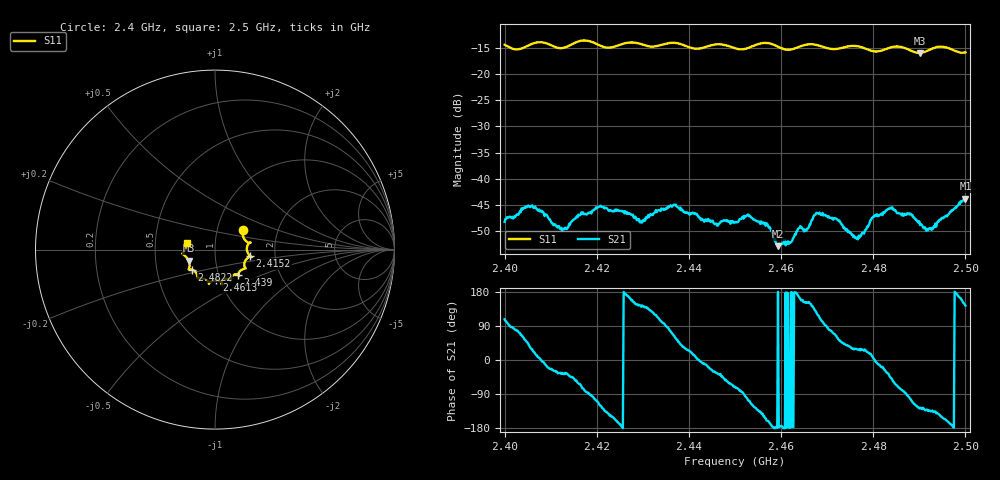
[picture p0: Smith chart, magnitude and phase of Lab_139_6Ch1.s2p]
# Hz S RI R 50
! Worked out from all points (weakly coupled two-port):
!   601 points, 2.4 GHz to 2.5 GHz, reference 50 ohm
!   highest |S21| = -43.85 dB at 2.5 GHz (marker M1); lowest = -52.9 dB at 2.4593 GHz (marker M2)
!   lowest |S11| = -15.9 dB at 2.4902 GHz (marker M3), VSWR 1.38, Z = 36.9 - j4.62 ohm
!   |S11| at or under -10 dB: start of sweep to end of sweep
!   S12 and S22 are empty: the file has one direction only
!   S11 on the Smith chart (normalised r, x): 2.4 GHz: 1.33, +0.31; 2.4152 GHz: 1.48, -0.11; 2.439 GHz: 1.24, -0.36; 2.4613 GHz: 0.96, -0.34; 2.4822 GHz: 0.76, -0.17; 2.5 GHz: 0.73, +0.05
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2.4e9  0.1552 0.1114  -0.00115 0.00369  0 0  0 0
2.4055e9  0.1875 0.0381  0.00441 0.00302  0 0  0 0
2.4125e9  0.1776 -0.00149  0.00263 -0.00179  0 0  0 0
2.415167e9  0.1954 -0.036  0.00259 -0.00319  0 0  0 0
2.416667e9  0.205 -0.0421  0.00169 -0.00445  0 0  0 0
2.421e9  0.1791 -0.0492  -0.00295 -0.00456  0 0  0 0
2.429833e9  0.1602 -0.1075  -0.00307 0.00225  0 0  0 0
2.433333e9  0.1323 -0.1323  -0.00182 0.00463  0 0  0 0
2.439e9  0.1277 -0.1387  0.00403 0.0026  0 0  0 0
2.45e9  0.0689 -0.1633  0.00123 -0.0036  0 0  0 0
2.452833e9  0.0399 -0.1735  -0.00127 -0.00437  0 0  0 0
2.456667e9  0.0396 -0.1952  -0.0032 -0.00151  0 0  0 0
2.459333e9  0.0316 -0.1803  -0.00226 9.84e-06  0 0  0 0
2.461333e9  0.00734 -0.1711  -0.00237 0.000101  0 0  0 0
2.466667e9  -0.0338 -0.1902  -0.00319 0.00249  0 0  0 0
2.472e9  -0.0658 -0.1613  0.00186 0.00368  0 0  0 0
2.4765e9  -0.0949 -0.1591  0.00237 0.00127  0 0  0 0
2.482167e9  -0.1283 -0.1117  0.00446 -0.00169  0 0  0 0
2.483333e9  -0.1396 -0.11  0.00412 -0.00312  0 0  0 0
2.490167e9  -0.1476 -0.061  -0.0021 -0.00292  0 0  0 0
2.492833e9  -0.1734 -0.029  -0.00232 -0.00245  0 0  0 0
2.5e9  -0.1584 0.034  -0.00517 0.00381  0 0  0 0
